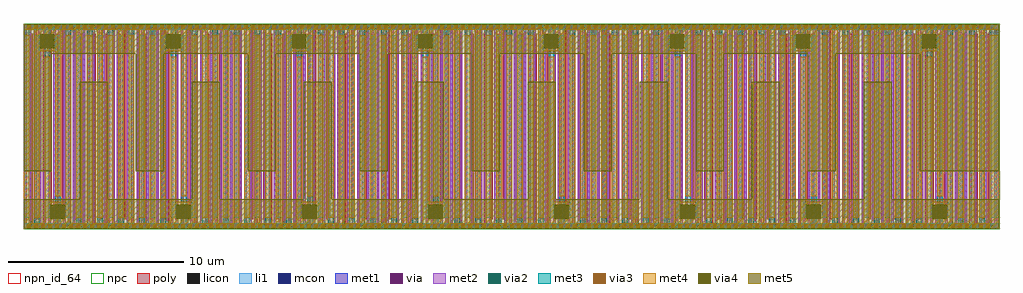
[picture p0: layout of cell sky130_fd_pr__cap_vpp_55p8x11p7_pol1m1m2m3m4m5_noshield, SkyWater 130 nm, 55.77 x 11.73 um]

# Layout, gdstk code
import gdstk
lib = gdstk.Library(unit=1e-6, precision=1e-09)
def R(c, l, rs):  # rectangles x0, y0, x1, y1
    for r in rs: c.add(gdstk.rectangle(r[:2], r[2:], *l))
def A(c, l, x, y, w, h, nx, ny, dx, dy):  # array of equal rectangles
    R(c, l, [(x+i*dx, y+j*dy, x+i*dx+w, y+j*dy+h) for i in range(nx) for j in range(ny)])
poly = (66, 20)
licon = (66, 44)
li1 = (67, 20)
mcon = (67, 44)
met1 = (68, 20)
via = (68, 44)
met2 = (69, 20)
via2 = (69, 44)
met3 = (70, 20)
via3 = (70, 44)
met4 = (71, 20)
via4 = (71, 44)
met5 = (72, 20)
npn_id_64 = (82, 64)
npc = (95, 20)

sky130_fd_pr__cap_vpp_55 = lib.new_cell('sky130_fd_pr__cap_vpp_55p8x11p7_pol1m1m2m3m4m5_noshield')
A(sky130_fd_pr__cap_vpp_55, poly, 0.36, 0.33, 0.15, 10.82, 77, 1, 0.72, 0)
A(sky130_fd_pr__cap_vpp_55, poly, 0, 0.54, 0.15, 10.82, 77, 1, 0.72, 0)
R(sky130_fd_pr__cap_vpp_55, poly, [(0,0,55.73,0.33), (55.44,0.54,55.73,11.36), (0,11.36,55.73,11.69)])
A(sky130_fd_pr__cap_vpp_55, licon, 0.17, 0.08, 0.17, 0.17, 163, 2, 0.34, 11.36)
A(sky130_fd_pr__cap_vpp_55, li1, 0, 0.33, 0.14, 10.89, 99, 1, 0.56, 0)
A(sky130_fd_pr__cap_vpp_55, li1, 0.28, 0.47, 0.14, 10.89, 99, 1, 0.56, 0)
R(sky130_fd_pr__cap_vpp_55, li1, [(0,0,55.73,0.33), (55.44,0.33,55.73,11.22), (0,11.36,55.73,11.69)])
A(sky130_fd_pr__cap_vpp_55, mcon, 0.19, 0.08, 0.17, 0.17, 154, 2, 0.36, 11.36)
A(sky130_fd_pr__cap_vpp_55, met1, 0.28, 0.33, 0.14, 10.89, 99, 1, 0.56, 0)
A(sky130_fd_pr__cap_vpp_55, met1, 0, 0.47, 0.14, 10.89, 99, 1, 0.56, 0)
R(sky130_fd_pr__cap_vpp_55, met1, [(0,0,55.73,0.33), (55.44,0.47,55.73,11.36), (0,11.36,55.73,11.69)])
R(sky130_fd_pr__cap_vpp_55, via, [(0.175,0.09,0.325,0.24), (0.495,0.09,0.645,0.24), (1.235,0.09,1.385,0.24), (1.555,0.09,1.705,0.24), (2.355,0.09,2.505,0.24), (2.675,0.09,2.825,0.24), (3.475,0.09,3.625,0.24), (3.795,0.09,3.945,0.24), (4.595,0.09,4.745,0.24), (4.915,0.09,5.065,0.24), (5.715,0.09,5.865,0.24), (6.035,0.09,6.185,0.24), (6.835,0.09,6.985,0.24), (7.155,0.09,7.305,0.24), (7.955,0.09,8.105,0.24), (8.275,0.09,8.425,0.24), (9.075,0.09,9.225,0.24), (9.395,0.09,9.545,0.24), (10.195,0.09,10.345,0.24), (10.515,0.09,10.665,0.24), (11.315,0.09,11.465,0.24), (11.635,0.09,11.785,0.24), (12.435,0.09,12.585,0.24), (12.755,0.09,12.905,0.24), (13.555,0.09,13.705,0.24), (13.875,0.09,14.025,0.24), (14.675,0.09,14.825,0.24), (14.995,0.09,15.145,0.24), (15.795,0.09,15.945,0.24), (16.115,0.09,16.265,0.24), (16.915,0.09,17.065,0.24), (17.235,0.09,17.385,0.24), (18.035,0.09,18.185,0.24), (18.355,0.09,18.505,0.24), (19.155,0.09,19.305,0.24), (19.475,0.09,19.625,0.24), (20.275,0.09,20.425,0.24), (20.595,0.09,20.745,0.24), (21.395,0.09,21.545,0.24), (21.715,0.09,21.865,0.24), (22.515,0.09,22.665,0.24), (22.835,0.09,22.985,0.24), (23.635,0.09,23.785,0.24), (23.955,0.09,24.105,0.24), (24.755,0.09,24.905,0.24), (25.075,0.09,25.225,0.24), (25.875,0.09,26.025,0.24), (26.195,0.09,26.345,0.24), (26.995,0.09,27.145,0.24), (27.315,0.09,27.465,0.24), (28.115,0.09,28.265,0.24), (28.435,0.09,28.585,0.24), (29.235,0.09,29.385,0.24), (29.555,0.09,29.705,0.24), (30.355,0.09,30.505,0.24), (30.675,0.09,30.825,0.24), (31.475,0.09,31.625,0.24), (31.795,0.09,31.945,0.24), (32.595,0.09,32.745,0.24), (32.915,0.09,33.065,0.24), (33.715,0.09,33.865,0.24), (34.035,0.09,34.185,0.24), (34.835,0.09,34.985,0.24), (35.155,0.09,35.305,0.24), (35.955,0.09,36.105,0.24), (36.275,0.09,36.425,0.24), (37.075,0.09,37.225,0.24), (37.395,0.09,37.545,0.24), (38.195,0.09,38.345,0.24), (38.515,0.09,38.665,0.24), (39.315,0.09,39.465,0.24), (39.635,0.09,39.785,0.24), (40.435,0.09,40.585,0.24), (40.755,0.09,40.905,0.24), (41.555,0.09,41.705,0.24), (41.875,0.09,42.025,0.24), (42.675,0.09,42.825,0.24), (42.995,0.09,43.145,0.24), (43.795,0.09,43.945,0.24), (44.115,0.09,44.265,0.24), (44.915,0.09,45.065,0.24), (45.235,0.09,45.385,0.24), (46.035,0.09,46.185,0.24), (46.355,0.09,46.505,0.24), (47.155,0.09,47.305,0.24), (47.475,0.09,47.625,0.24), (48.275,0.09,48.425,0.24), (48.595,0.09,48.745,0.24), (49.395,0.09,49.545,0.24), (49.715,0.09,49.865,0.24), (50.515,0.09,50.665,0.24), (50.835,0.09,50.985,0.24), (51.635,0.09,51.785,0.24), (51.955,0.09,52.105,0.24), (52.755,0.09,52.905,0.24), (53.075,0.09,53.225,0.24), (53.875,0.09,54.025,0.24), (54.195,0.09,54.345,0.24), (54.995,0.09,55.145,0.24), (55.315,0.09,55.465,0.24), (0.395,11.45,0.545,11.6), (0.715,11.45,0.865,11.6), (1.515,11.45,1.665,11.6), (1.835,11.45,1.985,11.6), (2.635,11.45,2.785,11.6), (2.955,11.45,3.105,11.6), (3.755,11.45,3.905,11.6), (4.075,11.45,4.225,11.6), (4.875,11.45,5.025,11.6), (5.195,11.45,5.345,11.6), (5.995,11.45,6.145,11.6), (6.315,11.45,6.465,11.6), (7.115,11.45,7.265,11.6), (7.435,11.45,7.585,11.6), (8.235,11.45,8.385,11.6), (8.555,11.45,8.705,11.6), (9.355,11.45,9.505,11.6), (9.675,11.45,9.825,11.6), (10.475,11.45,10.625,11.6), (10.795,11.45,10.945,11.6), (11.595,11.45,11.745,11.6), (11.915,11.45,12.065,11.6), (12.715,11.45,12.865,11.6), (13.035,11.45,13.185,11.6), (13.835,11.45,13.985,11.6), (14.155,11.45,14.305,11.6), (14.955,11.45,15.105,11.6), (15.275,11.45,15.425,11.6), (16.075,11.45,16.225,11.6), (16.395,11.45,16.545,11.6), (17.195,11.45,17.345,11.6), (17.515,11.45,17.665,11.6), (18.315,11.45,18.465,11.6), (18.635,11.45,18.785,11.6), (19.435,11.45,19.585,11.6), (19.755,11.45,19.905,11.6), (20.555,11.45,20.705,11.6), (20.875,11.45,21.025,11.6), (21.675,11.45,21.825,11.6), (21.995,11.45,22.145,11.6), (22.795,11.45,22.945,11.6), (23.115,11.45,23.265,11.6), (23.915,11.45,24.065,11.6), (24.235,11.45,24.385,11.6), (25.035,11.45,25.185,11.6), (25.355,11.45,25.505,11.6), (26.155,11.45,26.305,11.6), (26.475,11.45,26.625,11.6), (27.275,11.45,27.425,11.6), (27.595,11.45,27.745,11.6), (28.395,11.45,28.545,11.6), (28.715,11.45,28.865,11.6), (29.515,11.45,29.665,11.6), (29.835,11.45,29.985,11.6), (30.635,11.45,30.785,11.6), (30.955,11.45,31.105,11.6), (31.755,11.45,31.905,11.6), (32.075,11.45,32.225,11.6), (32.875,11.45,33.025,11.6), (33.195,11.45,33.345,11.6), (33.995,11.45,34.145,11.6), (34.315,11.45,34.465,11.6), (35.115,11.45,35.265,11.6), (35.435,11.45,35.585,11.6), (36.235,11.45,36.385,11.6), (36.555,11.45,36.705,11.6), (37.355,11.45,37.505,11.6), (37.675,11.45,37.825,11.6), (38.475,11.45,38.625,11.6), (38.795,11.45,38.945,11.6), (39.595,11.45,39.745,11.6), (39.915,11.45,40.065,11.6), (40.715,11.45,40.865,11.6), (41.035,11.45,41.185,11.6), (41.835,11.45,41.985,11.6), (42.155,11.45,42.305,11.6), (42.955,11.45,43.105,11.6), (43.275,11.45,43.425,11.6), (44.075,11.45,44.225,11.6), (44.395,11.45,44.545,11.6), (45.195,11.45,45.345,11.6), (45.515,11.45,45.665,11.6), (46.315,11.45,46.465,11.6), (46.635,11.45,46.785,11.6), (47.435,11.45,47.585,11.6), (47.755,11.45,47.905,11.6), (48.555,11.45,48.705,11.6), (48.875,11.45,49.025,11.6), (49.675,11.45,49.825,11.6), (49.995,11.45,50.145,11.6), (50.795,11.45,50.945,11.6), (51.115,11.45,51.265,11.6), (51.915,11.45,52.065,11.6), (52.235,11.45,52.385,11.6), (53.035,11.45,53.185,11.6), (53.355,11.45,53.505,11.6), (54.155,11.45,54.305,11.6), (54.475,11.45,54.625,11.6)])
A(sky130_fd_pr__cap_vpp_55, met2, 0, 0, 0.7, 0.33, 49, 1, 1.12, 0)
A(sky130_fd_pr__cap_vpp_55, met2, 0.84, 0, 0.14, 0.47, 49, 1, 1.12, 0)
A(sky130_fd_pr__cap_vpp_55, met2, 0, 0.33, 0.14, 10.89, 99, 1, 0.56, 0)
A(sky130_fd_pr__cap_vpp_55, met2, 0.28, 0.47, 0.14, 10.89, 99, 1, 0.56, 0)
A(sky130_fd_pr__cap_vpp_55, met2, 0, 11.22, 0.14, 0.47, 49, 1, 1.12, 0)
A(sky130_fd_pr__cap_vpp_55, met2, 0.28, 11.36, 0.7, 0.33, 49, 1, 1.12, 0)
R(sky130_fd_pr__cap_vpp_55, met2, [(54.88,0,55.73,0.33), (55.44,0.33,55.73,11.22), (54.74,11.36,55.73,11.69)])
A(sky130_fd_pr__cap_vpp_55, via2, 0.25, 0.065, 0.2, 0.2, 50, 1, 1.12, 0)
A(sky130_fd_pr__cap_vpp_55, via2, 0.53, 11.425, 0.2, 0.2, 49, 1, 1.12, 0)
A(sky130_fd_pr__cap_vpp_55, met3, 0.6, 0.33, 0.3, 10.73, 46, 1, 1.2, 0)
A(sky130_fd_pr__cap_vpp_55, met3, 0, 0.63, 0.3, 10.73, 46, 1, 1.2, 0)
R(sky130_fd_pr__cap_vpp_55, met3, [(0,0,55.73,0.33), (55.2,0.63,55.73,11.36), (0,11.36,55.73,11.69)])
A(sky130_fd_pr__cap_vpp_55, via3, 0.2, 0.065, 0.2, 0.2, 138, 2, 0.4, 11.36)
A(sky130_fd_pr__cap_vpp_55, met4, 1.2, 0.33, 0.3, 9.505, 8, 1, 7.2, 0)
A(sky130_fd_pr__cap_vpp_55, met4, 1.5, 0.33, 0.9, 0.045, 8, 1, 7.2, 0)
A(sky130_fd_pr__cap_vpp_55, met4, 2.4, 0.33, 0.3, 10.73, 5, 1, 1.2, 0)
A(sky130_fd_pr__cap_vpp_55, met4, 9.6, 0.33, 0.3, 10.73, 5, 1, 1.2, 0)
A(sky130_fd_pr__cap_vpp_55, met4, 16.8, 0.33, 0.3, 10.73, 5, 1, 1.2, 0)
A(sky130_fd_pr__cap_vpp_55, met4, 24, 0.33, 0.3, 10.73, 5, 1, 1.2, 0)
A(sky130_fd_pr__cap_vpp_55, met4, 31.2, 0.33, 0.3, 10.73, 5, 1, 1.2, 0)
A(sky130_fd_pr__cap_vpp_55, met4, 38.4, 0.33, 0.3, 10.73, 5, 1, 1.2, 0)
A(sky130_fd_pr__cap_vpp_55, met4, 45.6, 0.33, 0.3, 10.73, 5, 1, 1.2, 0)
A(sky130_fd_pr__cap_vpp_55, met4, 1.36, 0.375, 1.18, 1.18, 8, 1, 7.2, 0)
A(sky130_fd_pr__cap_vpp_55, met4, 3, 0.63, 0.3, 10.73, 5, 1, 1.2, 0)
A(sky130_fd_pr__cap_vpp_55, met4, 10.2, 0.63, 0.3, 10.73, 5, 1, 1.2, 0)
A(sky130_fd_pr__cap_vpp_55, met4, 17.4, 0.63, 0.3, 10.73, 5, 1, 1.2, 0)
A(sky130_fd_pr__cap_vpp_55, met4, 24.6, 0.63, 0.3, 10.73, 5, 1, 1.2, 0)
A(sky130_fd_pr__cap_vpp_55, met4, 31.8, 0.63, 0.3, 10.73, 5, 1, 1.2, 0)
A(sky130_fd_pr__cap_vpp_55, met4, 39, 0.63, 0.3, 10.73, 5, 1, 1.2, 0)
A(sky130_fd_pr__cap_vpp_55, met4, 46.2, 0.63, 0.3, 10.73, 5, 1, 1.2, 0)
A(sky130_fd_pr__cap_vpp_55, met4, 1.8, 1.855, 0.3, 9.505, 8, 1, 7.2, 0)
A(sky130_fd_pr__cap_vpp_55, met4, 0.76, 10.135, 1.18, 1.18, 8, 1, 7.2, 0)
A(sky130_fd_pr__cap_vpp_55, met4, 0.9, 11.315, 0.9, 0.045, 8, 1, 7.2, 0)
R(sky130_fd_pr__cap_vpp_55, met4, [(0,0,55.73,0.33), (0,0.33,0.3,11.06), (52.8,0.33,53.1,11.06), (54,0.33,54.3,11.06), (55.2,0.33,55.73,11.06), (0.6,0.63,0.9,11.36), (53.4,0.63,53.7,11.36), (54.6,0.63,54.9,11.36), (0,11.36,55.73,11.69)])
A(sky130_fd_pr__cap_vpp_55, via4, 1.55, 0.565, 0.8, 0.8, 8, 1, 7.2, 0)
A(sky130_fd_pr__cap_vpp_55, via4, 0.95, 10.325, 0.8, 0.8, 8, 1, 7.2, 0)
A(sky130_fd_pr__cap_vpp_55, met5, 1.24, 0.255, 1.42, 1.42, 8, 1, 7.2, 0)
A(sky130_fd_pr__cap_vpp_55, met5, 3.2, 1.675, 1.6, 6.74, 8, 1, 6.4, 0)
A(sky130_fd_pr__cap_vpp_55, met5, 0, 3.275, 1.6, 6.74, 8, 1, 6.4, 0)
A(sky130_fd_pr__cap_vpp_55, met5, 0.64, 10.015, 1.42, 1.42, 8, 1, 7.2, 0)
R(sky130_fd_pr__cap_vpp_55, met5, [(0,0,55.73,1.675), (51.2,3.275,55.73,10.015), (0,10.015,55.73,11.69)])
R(sky130_fd_pr__cap_vpp_55, npn_id_64, [(0.13,0.21,55.58,11.48)])
R(sky130_fd_pr__cap_vpp_55, npc, [(-0.02,-0.02,55.75,11.71)])

lib.write_gds('sky130_fd_pr__cap_vpp_55p8x11p7_pol1m1m2m3m4m5_noshield.gds')
